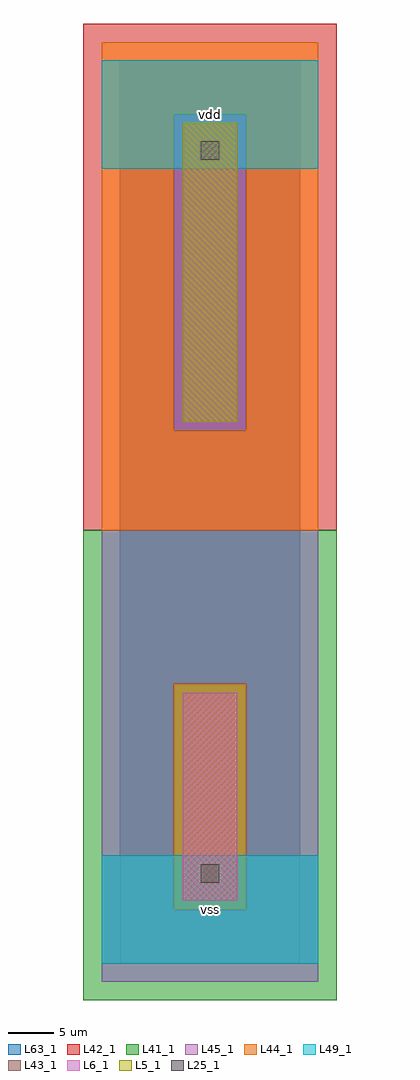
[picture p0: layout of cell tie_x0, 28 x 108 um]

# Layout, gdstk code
import gdstk
lib = gdstk.Library(unit=1e-6, precision=1e-09)
def R(c, l, rs):  # rectangles x0, y0, x1, y1
    for r in rs: c.add(gdstk.rectangle(r[:2], r[2:], *l))
L5_1 = (5, 1)
L6_1 = (6, 1)
L25_1 = (25, 1)
L41_1 = (41, 1)
L42_1 = (42, 1)
L43_1 = (43, 1)
L44_1 = (44, 1)
L45_1 = (45, 1)
L49_1 = (49, 1)
L63_1 = (63, 1)

tie_x0 = lib.new_cell('tie_x0')
R(tie_x0, L5_1, [(7,60,13,93)])
R(tie_x0, L6_1, [(7,7,13,30), (7,7,13,30)])
R(tie_x0, L25_1, [(9,9,11,11), (9,89,11,91)])
R(tie_x0, L41_1, [(-4,-4,24,48)])
R(tie_x0, L42_1, [(-4,48,24,104)])
R(tie_x0, L43_1, [(7,7,13,30), (7,60,13,93)])
R(tie_x0, L44_1, [(6,6,14,31), (-2,48,22,59), (-2,59,6,94), (14,59,22,94), (-2,94,22,102)])
R(tie_x0, L45_1, [(-2,-2,22,6), (-2,6,6,31), (14,6,22,31), (-2,31,22,48), (6,59,14,94)])
R(tie_x0, L49_1, [(-2,0,22,12), (-2,88,22,100)])
R(tie_x0, L63_1, [(0,0,20,100)])
tie_x0.add(gdstk.Label('vss', (10,6), layer=49, texttype=1))
tie_x0.add(gdstk.Label('vdd', (10,94), layer=49, texttype=1))

lib.write_gds('tie_x0.gds')
